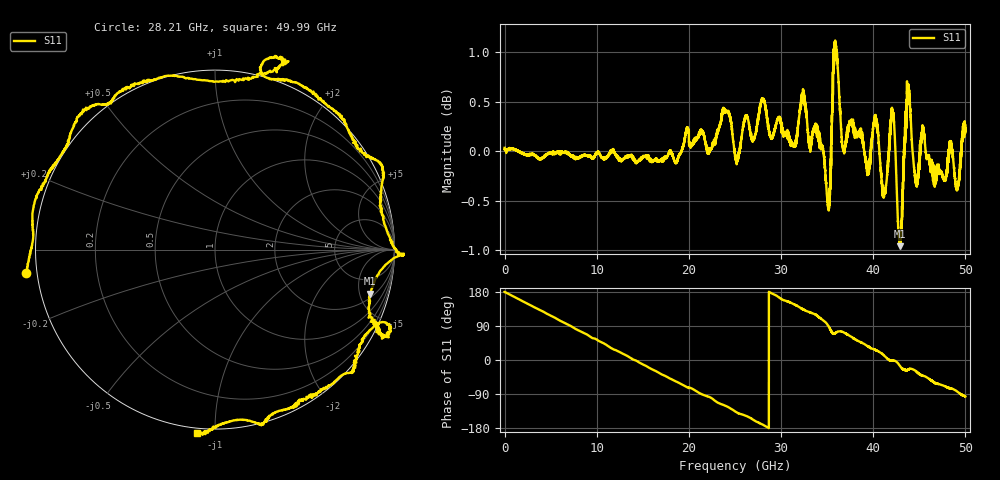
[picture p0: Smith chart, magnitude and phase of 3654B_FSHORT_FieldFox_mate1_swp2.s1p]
!Created with skrf (http://scikit-rf.org).
# Hz S RI R 50.0
!freq ReS11 ImS11
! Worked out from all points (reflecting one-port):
!   10000 points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, 5.3 MHz to 50 GHz, reference 50 ohm
!   lowest |S11| = -1.0 dB at 42.92 GHz (marker M1), VSWR 18.14, Z = 125 - j309 ohm
!   phase of S11 starts at 180 deg and turns -636 deg over the sweep
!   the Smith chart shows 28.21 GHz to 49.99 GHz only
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5299970  -1.004 0.00154
2.880283e9  -0.8024 0.5906
6.255262e9  -0.1898 0.9802
8.930246e9  0.38 0.9197
1.250522e10  0.9269 0.3517
1.534021e10  0.9573 -0.2663
1.875519e10  0.5195 -0.8424
2.148517e10  -0.0208 -1.022
2.390516e10  -0.5257 -0.9064
2.500515e10  -0.7126 -0.6969
2.806013e10  -1.049 -0.1626
3.005512e10  -0.9644 0.3425
3.125511e10  -0.862 0.5225
3.242511e10  -0.7337 0.7777
3.38601e10  -0.4826 0.9008
3.483009e10  -0.1654 0.958
3.569009e10  0.3835 1.033
3.655508e10  0.2552 0.9851
3.750507e10  0.4712 0.9207
4.025506e10  0.9344 0.4619
4.209505e10  1.049 -0.0305
4.291504e10  0.8612 -0.2454
4.375504e10  0.9714 -0.4688
4.436003e10  0.8948 -0.4208
4.527003e10  0.7714 -0.6612
4.684502e10  0.4526 -0.8552
4.865001e10  0.2304 -0.9641
5e10  -0.1068 -1.019
